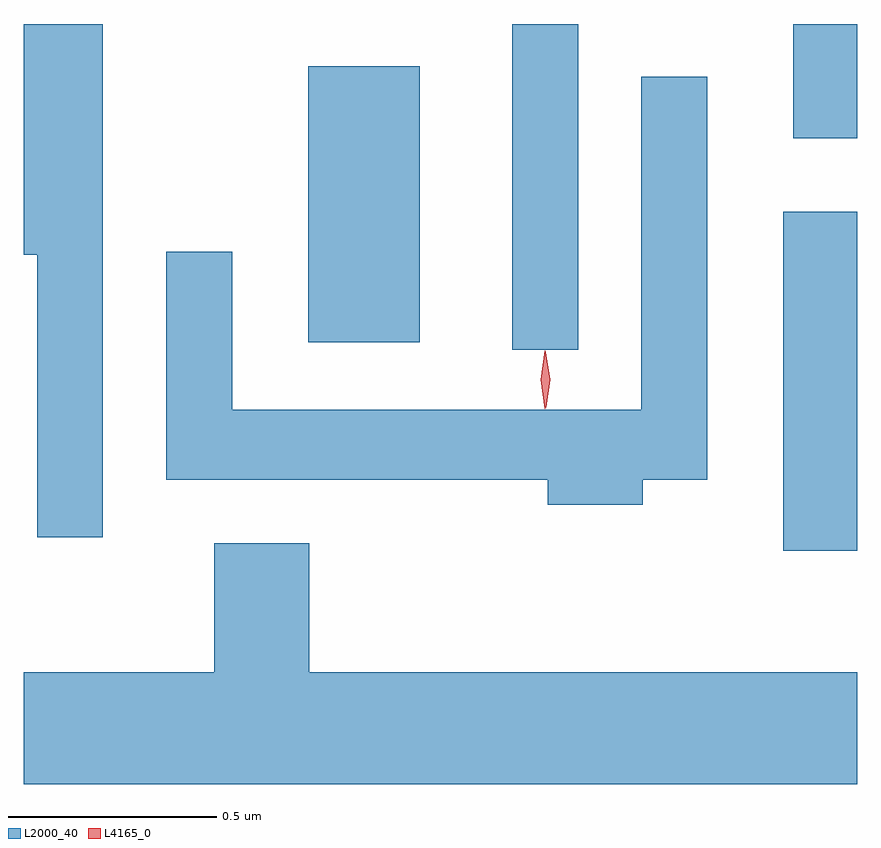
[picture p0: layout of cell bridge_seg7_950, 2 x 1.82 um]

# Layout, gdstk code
import gdstk
lib = gdstk.Library(unit=1e-6, precision=1e-09)
def R(c, l, rs):  # rectangles x0, y0, x1, y1
    for r in rs: c.add(gdstk.rectangle(r[:2], r[2:], *l))
def P(c, l, *ps):  # polygons
    for p in ps: c.add(gdstk.Polygon(p, *l))
L2000_40 = (2000, 40)
L4165_0 = (4165, 0)

bridge_seg7_950 = lib.new_cell('bridge_seg7_950')
R(bridge_seg7_950, L2000_40, [(424.716,1712.656,424.894,1713.469), (424.066,1713.138,424.224,1713.92), (423.576,1713.156,423.844,1713.819), (424.741,1713.646,424.894,1713.92)])
P(bridge_seg7_950, L2000_40, [(423.084,1713.92),(422.894,1713.92),(422.894,1713.366),(422.926,1713.366),(422.926,1712.688),(423.084,1712.688)],
  [(424.379,1712.826),(424.534,1712.826),(424.534,1713.793),(424.376,1713.793),(424.376,1712.994),(423.394,1712.994),(423.394,1713.373),(423.236,1713.373),(423.236,1712.826),(424.151,1712.826),(424.151,1712.766),(424.379,1712.766)],
  [(424.894,1712.364),(423.579,1712.364),(423.579,1712.674),(423.351,1712.674),(423.351,1712.364),(422.894,1712.364),(422.894,1712.096),(424.894,1712.096)])
P(bridge_seg7_950, L4165_0, [(424.144,1712.997),(424.144,1712.997),(424.134,1713.066),(424.144,1713.136),(424.144,1713.136),(424.145,1713.136),(424.154,1713.066),(424.145,1712.997)],
  [(424.146,1713),(424.137,1713.066),(424.146,1713.132),(424.146,1713.133),(424.147,1713.132),(424.157,1713.066),(424.148,1713),(424.147,1713)])

lib.write_gds('bridge_seg7_950.gds')
